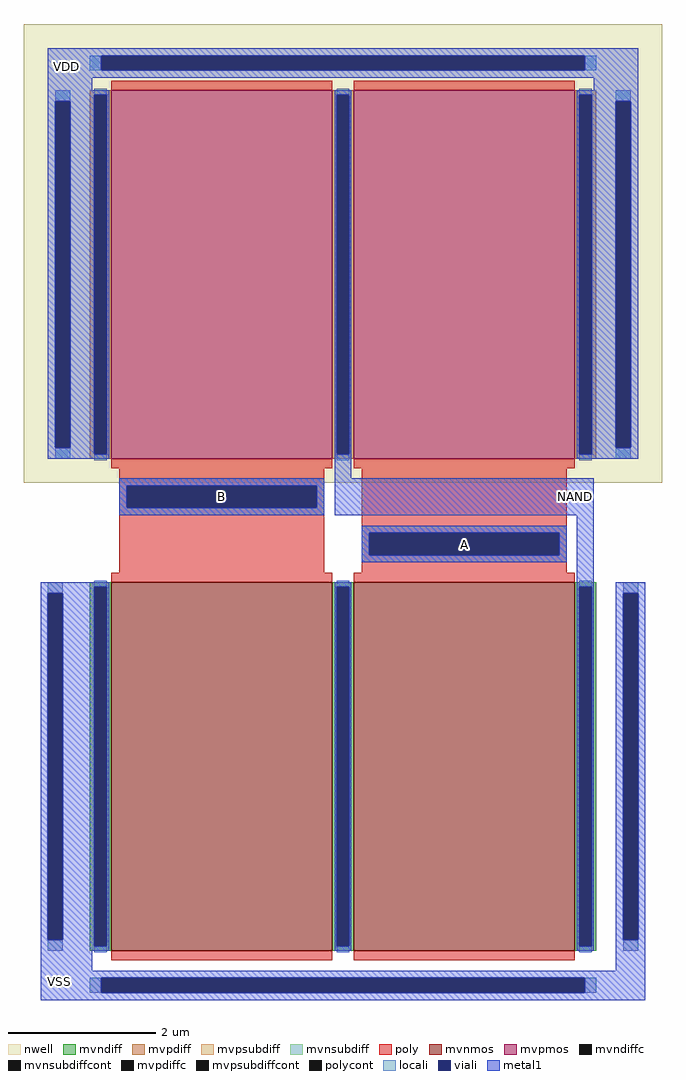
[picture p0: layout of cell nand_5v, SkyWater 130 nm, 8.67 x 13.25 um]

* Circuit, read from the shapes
.subckt nand_5v A B NAND VDD VSS
XM1 n1 B VSS VSS sky130_fd_pr__nfet_g5v0d10v5 w=5 l=3
XM2 NAND A n1 VSS sky130_fd_pr__nfet_g5v0d10v5 w=5 l=3
XM3 NAND B VDD VDD sky130_fd_pr__pfet_g5v0d10v5 w=5 l=3
XM4 VDD A NAND VDD sky130_fd_pr__pfet_g5v0d10v5 w=5 l=3
.ends

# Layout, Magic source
magic
tech sky130A
magscale 1 2
<< nwell >>
rect -867 102 867 1348
<< mvnmos >>
rect -629 -1168 -29 -168
rect 29 -1168 629 -168
<< mvpmos >>
rect -629 168 -29 1168
rect 29 168 629 1168
<< mvndiff >>
rect -687 -180 -629 -168
rect -687 -1156 -675 -180
rect -641 -1156 -629 -180
rect -687 -1168 -629 -1156
rect -29 -180 29 -168
rect -29 -1156 -17 -180
rect 17 -1156 29 -180
rect -29 -1168 29 -1156
rect 629 -180 687 -168
rect 629 -1156 641 -180
rect 675 -1156 687 -180
rect 629 -1168 687 -1156
<< mvpdiff >>
rect -687 1156 -629 1168
rect -687 180 -675 1156
rect -641 180 -629 1156
rect -687 168 -629 180
rect -29 1156 29 1168
rect -29 180 -17 1156
rect 17 180 29 1156
rect -29 168 29 180
rect 629 1156 687 1168
rect 629 180 641 1156
rect 675 180 687 1156
rect 629 168 687 180
<< mvndiffc >>
rect -675 -1156 -641 -180
rect -17 -1156 17 -180
rect 641 -1156 675 -180
<< mvpdiffc >>
rect -675 180 -641 1156
rect -17 180 17 1156
rect 641 180 675 1156
<< mvpsubdiff >>
rect -801 -198 -761 -168
rect -801 -1168 -761 -1138
rect 761 -198 801 -168
rect 761 -1168 801 -1138
rect -687 -1282 -657 -1242
rect 657 -1282 687 -1242
<< mvnsubdiff >>
rect -687 1222 -657 1262
rect 657 1222 687 1262
rect -781 1138 -741 1168
rect -781 168 -741 198
rect 741 1138 781 1168
rect 741 168 781 198
<< mvpsubdiffcont >>
rect -801 -1138 -761 -198
rect 761 -1138 801 -198
rect -657 -1282 657 -1242
<< mvnsubdiffcont >>
rect -657 1222 657 1262
rect -781 198 -741 1138
rect 741 198 781 1138
<< poly >>
rect -629 1168 -29 1194
rect 29 1168 629 1194
rect -629 142 -29 168
rect 29 142 629 168
rect -607 94 -51 142
rect -607 34 -587 94
rect -71 34 -51 94
rect -607 -142 -51 34
rect 51 -34 607 142
rect 51 -94 71 -34
rect 587 -94 607 -34
rect 51 -142 607 -94
rect -629 -168 -29 -142
rect 29 -168 629 -142
rect -629 -1194 -29 -1168
rect 29 -1194 629 -1168
<< polycont >>
rect -587 34 -71 94
rect 71 -94 587 -34
<< locali >>
rect -687 1222 -657 1262
rect 657 1222 687 1262
rect -781 1138 -741 1168
rect -781 168 -741 198
rect -675 1156 -641 1172
rect -675 164 -641 180
rect -17 1156 17 1172
rect -17 164 17 180
rect 641 1156 675 1172
rect 641 164 675 180
rect 741 1138 781 1168
rect 741 168 781 198
rect -607 94 -51 114
rect -607 34 -587 94
rect -71 34 -51 94
rect -607 14 -51 34
rect 51 -34 607 -14
rect 51 -94 71 -34
rect 587 -94 607 -34
rect 51 -114 607 -94
rect -801 -198 -761 -168
rect -801 -1168 -761 -1138
rect -675 -180 -641 -164
rect -675 -1172 -641 -1156
rect -17 -180 17 -164
rect -17 -1172 17 -1156
rect 641 -180 675 -164
rect 641 -1172 675 -1156
rect 761 -198 801 -168
rect 761 -1168 801 -1138
rect -687 -1282 -657 -1242
rect 657 -1282 687 -1242
<< viali >>
rect -657 1222 657 1262
rect -781 198 -741 1138
rect -675 180 -641 1156
rect -17 180 17 1156
rect 641 180 675 1156
rect 741 198 781 1138
rect -587 34 -71 94
rect 71 -94 587 -34
rect -801 -1138 -761 -198
rect -675 -1156 -641 -180
rect -17 -1156 17 -180
rect 641 -1156 675 -180
rect 761 -1138 801 -198
rect -657 -1282 657 -1242
<< metal1 >>
rect -801 1262 801 1282
rect -801 1222 -657 1262
rect 657 1222 801 1262
rect -801 1202 801 1222
rect -801 1168 -681 1202
rect 681 1168 801 1202
rect -801 1156 -635 1168
rect -801 1138 -675 1156
rect -801 198 -781 1138
rect -741 198 -675 1138
rect -801 180 -675 198
rect -641 180 -635 1156
rect -801 168 -635 180
rect -23 1156 23 1168
rect -23 180 -17 1156
rect 17 180 23 1156
rect -23 114 23 180
rect 635 1156 801 1168
rect 635 180 641 1156
rect 675 1138 801 1156
rect 675 198 741 1138
rect 781 198 801 1138
rect 675 180 801 198
rect 635 168 801 180
rect -607 94 -51 114
rect -607 34 -587 94
rect -71 34 -51 94
rect -607 14 -51 34
rect -23 14 681 114
rect 51 -34 607 -14
rect 51 -94 71 -34
rect 587 -94 607 -34
rect 51 -114 607 -94
rect -821 -180 -635 -168
rect -821 -198 -675 -180
rect -821 -1138 -801 -198
rect -761 -1138 -675 -198
rect -821 -1156 -675 -1138
rect -641 -1156 -635 -180
rect -821 -1168 -635 -1156
rect -23 -180 23 -168
rect -23 -1156 -17 -180
rect 17 -1156 23 -180
rect -23 -1168 23 -1156
rect 635 -180 681 14
rect 635 -1156 641 -180
rect 675 -1156 681 -180
rect 635 -1168 681 -1156
rect 741 -198 821 -168
rect 741 -1138 761 -198
rect 801 -1138 821 -198
rect -821 -1222 -681 -1168
rect 741 -1222 821 -1138
rect -821 -1242 821 -1222
rect -821 -1282 -657 -1242
rect 657 -1282 821 -1242
rect -821 -1302 821 -1282
<< labels >>
rlabel metal1 581 14 681 114 3 NAND
rlabel metal1 -801 1182 -701 1282 1 VDD
rlabel metal1 51 -114 607 -14 3 A
rlabel metal1 -607 14 -51 114 7 B
rlabel metal1 -821 -1302 -721 -1202 5 VSS
<< end >>
